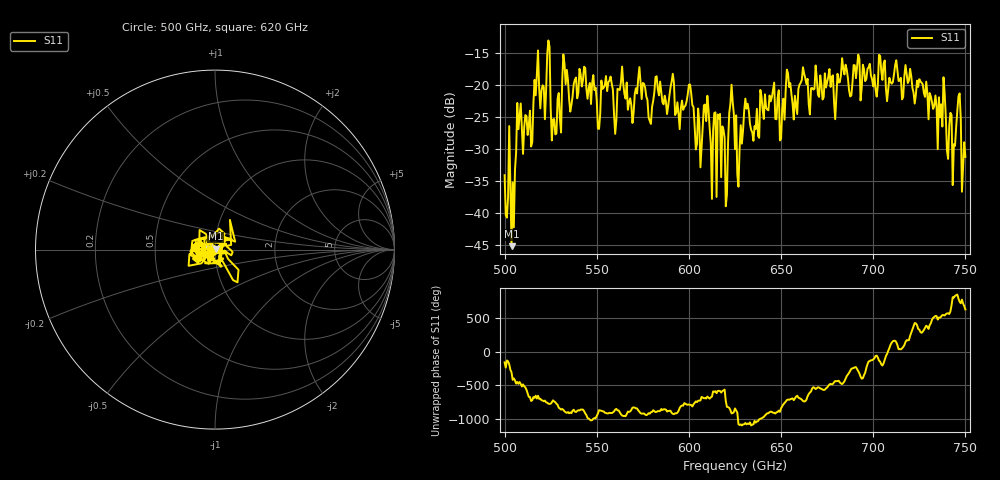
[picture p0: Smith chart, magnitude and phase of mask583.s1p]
!Created with skrf (http://scikit-rf.org).
# GHz S MA R 50.0
!freq magS11 angS11
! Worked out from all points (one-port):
!   401 points, 500 GHz to 750 GHz, reference 50 ohm
!   lowest |S11| = -45.1 dB at 503.8 GHz (marker M1), VSWR 1.01, Z = 50.3 + j0.447 ohm
!   |S11| at or under -10 dB: start of sweep to end of sweep
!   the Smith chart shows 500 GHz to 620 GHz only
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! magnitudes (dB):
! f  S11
! 500 GHz  -34.1
! 503.8 GHz  -45.1
! 505 GHz  -42.2
! 507.5 GHz  -26.9
! 513.8 GHz  -24.0
! 517.5 GHz  -18.4
! 523.8 GHz  -13.1
! 526.9 GHz  -25.3
! 531.2 GHz  -19.4
! 562.5 GHz  -20.8
! 579.4 GHz  -26.1
! 590.6 GHz  -19.5
! 593.8 GHz  -22.7
! 600.6 GHz  -20.0
! 605 GHz  -23.7
! 609.4 GHz  -25.6
! 620 GHz  -38.9
! 623.1 GHz  -20.0
! 625 GHz  -30.0
! 627.5 GHz  -30.0
! 631.2 GHz  -23.7
! 635 GHz  -28.7
! 656.2 GHz  -23.0
! 687.5 GHz  -21.8
! 718.8 GHz  -19.7
! 743.8 GHz  -29.2
! 746.2 GHz  -21.8
! 750 GHz  -31.2
